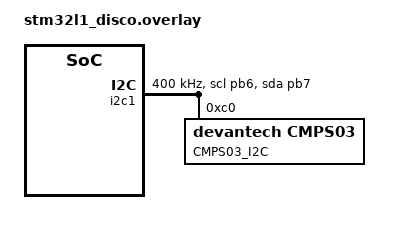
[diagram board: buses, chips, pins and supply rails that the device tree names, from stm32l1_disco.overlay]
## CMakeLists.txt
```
cmake_minimum_required(VERSION 3.13.1)
find_package(Zephyr REQUIRED HINTS $ENV{ZEPHYR_BASE})
project(cmps03)

FILE(GLOB app_sources src/*.c)
target_sources(app PRIVATE ${app_sources})
```

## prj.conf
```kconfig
CONFIG_SENSOR=y
CONFIG_CMPS03=y
CONFIG_I2C=y
```

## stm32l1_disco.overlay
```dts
&i2c1 {
    clock-frequency = <I2C_BITRATE_FAST>;
    status = "okay";
    pinctrl-0 = <&i2c1_scl_pb6 &i2c1_sda_pb7>;

	cmps03@C0 {
		compatible = "devantech,cmps03";
		reg = <0xC0>;
		label = "CMPS03_I2C";
	};
};
```

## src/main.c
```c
/*
 * Copyright (c) 2012-2014 Wind River Systems, Inc.
 * Copyright (c) 2021 Nordic Semiconductor ASA
 *
 * SPDX-License-Identifier: Apache-2.0
 */

#include <zephyr.h>
#include <device.h>
#include <devicetree.h>
#include <drivers/sensor.h>

/*
 * Get a device structure from a devicetree node with compatible
 * "bosch,cmps03". (If there are multiple, just pick one.)
 */
static const struct device *get_cmps03_device(void)
{
	const struct device *dev = DEVICE_DT_GET_ANY(devantech_cmps03);

	if (dev == NULL) {
		/* No such node, or the node does not have status "okay". */
		printk("\nError: no device found.\n");
		return NULL;
	}

	// if (!device_is_ready(dev)) {
	// 	printk("\nError: Device \"%s\" is not ready; "
	// 	       "check the driver initialization logs for errors.\n",
	// 	       dev->name);
	// 	return NULL;
	// }

	printk("Found device \"%s\", getting sensor data\n", dev->name);
	return dev;
}

void main(void)
{
	const struct device *dev = get_cmps03_device();
	
	//if (dev == NULL) {
	//	return;
	//}

	while (1) {
		struct sensor_value temp, press, humidity;

		//sensor_sample_fetch(dev);
		//sensor_channel_get(dev, SENSOR_CHAN_AMBIENT_TEMP, &temp);
		//sensor_channel_get(dev, SENSOR_CHAN_PRESS, &press);
		//sensor_channel_get(dev, SENSOR_CHAN_HUMIDITY, &humidity);

		//printk("temp: %d.%06d; press: %d.%06d; humidity: %d.%06d\n",
		      //temp.val1, temp.val2, press.val1, press.val2,
		      //humidity.val1, humidity.val2);

		k_sleep(K_MSEC(1000));
	}
}
```
